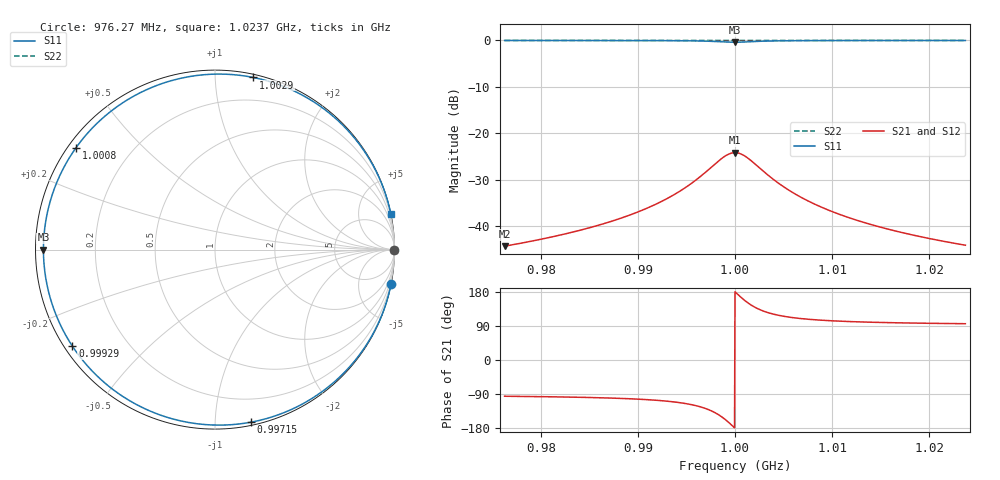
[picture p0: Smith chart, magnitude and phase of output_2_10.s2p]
! File generated for n1 = 2, n2 = 10
! b1 = 46.415888
! b2 = 0.046416
! Q0 = 10000.000000
! f0 = 1000000000.000000
! n = 1001
! rel_span = 10.000000
# Hz S RI R 50
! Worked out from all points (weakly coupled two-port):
!   1001 points, 976.27 MHz to 1.0237 GHz, reference 50 ohm
!   highest |S21| = -24.17 dB at 1 GHz (marker M1); lowest = -44.3 dB at 976.27 MHz (marker M2)
!   lowest |S11| = -0.4 dB at 1 GHz (marker M3), VSWR 44.36, Z = 1.13 + j0 ohm
!   |S11| at or under -10 dB: nowhere
!   |S22| runs from 0.0 to 0.0 dB; largest |S21 - S12| = 0
!   S11 on the Smith chart (normalised r, x): 976.27 MHz: 0, -10; 997.15 MHz: 0.02, -1.23; 999.29 MHz: 0.02, -0.31; 1.0008 GHz: 0.02, +0.33; 1.0029 GHz: 0.02, +1.25; 1.0237 GHz: 0, +10
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9.762688e8  0.9811 -0.1914  -0.000598 -0.00605  -0.000598 -0.00605  1 -0.000191
9.841951e8  0.9575 -0.285  -0.00134 -0.00901  -0.00134 -0.00901  1 -0.000285
9.88704e8  0.9182 -0.3915  -0.00259 -0.0124  -0.00259 -0.0124  0.9999 -0.000391
9.921213e8  0.8385 -0.5383  -0.00511 -0.017  -0.00511 -0.017  0.9998 -0.000538
9.951588e8  0.6225 -0.7719  -0.0119 -0.0244  -0.0119 -0.0244  0.9996 -0.000772
9.962505e8  0.4421 -0.8831  -0.0176 -0.0279  -0.0176 -0.0279  0.9994 -0.000883
9.971523e8  0.1997 -0.9617  -0.0253 -0.0304  -0.0253 -0.0304  0.9992 -0.000962
9.983388e8  -0.312 -0.9191  -0.0415 -0.0291  -0.0415 -0.0291  0.9987 -0.000919
9.988134e8  -0.5644 -0.7826  -0.0495 -0.0247  -0.0495 -0.0247  0.9984 -0.000783
9.992881e8  -0.7943 -0.5385  -0.0567 -0.017  -0.0567 -0.017  0.9982 -0.000538
1e9  -0.9559 0  -0.0619 0  -0.0619 0  0.998 0
1.00038e9  -0.9071 0.3051  -0.0603 0.00965  -0.0603 0.00965  0.9981 0.000305
1.000759e9  -0.7743 0.5676  -0.0561 0.0179  -0.0561 0.0179  0.9982 0.000568
1.001187e9  -0.5651 0.7821  -0.0495 0.0247  -0.0495 0.0247  0.9984 0.000782
1.001661e9  -0.3134 0.9186  -0.0415 0.029  -0.0415 0.029  0.9987 0.000919
1.002183e9  -0.0604 0.9745  -0.0335 0.0308  -0.0335 0.0308  0.9989 0.000974
1.002895e9  0.2126 0.9592  -0.0249 0.0303  -0.0249 0.0303  0.9992 0.000959
1.003797e9  0.4491 0.8798  -0.0174 0.0278  -0.0174 0.0278  0.9994 0.00088
1.004889e9  0.6255 0.7696  -0.0118 0.0243  -0.0118 0.0243  0.9996 0.00077
1.007926e9  0.8379 0.5392  -0.00513 0.0171  -0.00513 0.0171  0.9998 0.000539
1.015852e9  0.9565 0.2885  -0.00138 0.00912  -0.00138 0.00912  1 0.000289
1.023731e9  0.9802 0.1959  -0.000627 0.00619  -0.000627 0.00619  1 0.000196
